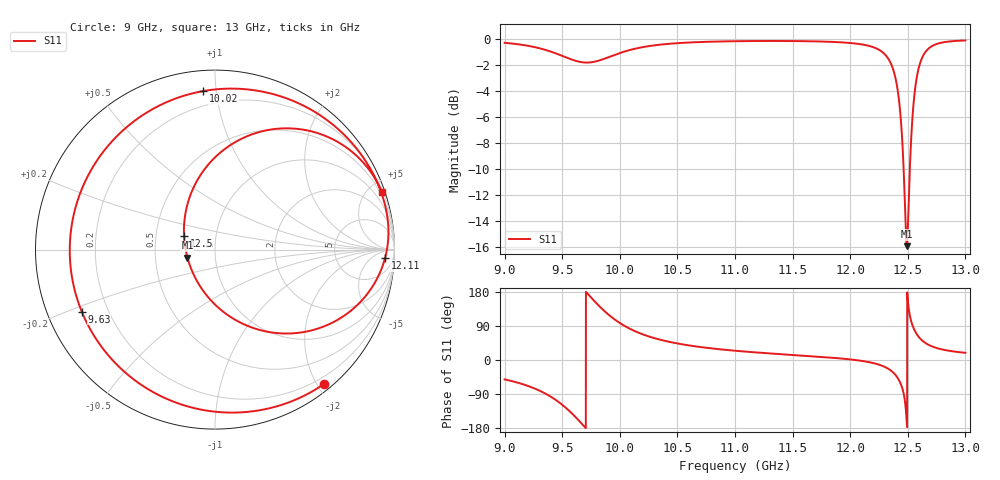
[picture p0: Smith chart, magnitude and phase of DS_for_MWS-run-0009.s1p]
! TOUCHSTONE file generated by CST DESIGN STUDIO
! Date and time: Tue Feb  4 16:13:21 2025
! Project name: C:\Work\MatlabApps\UnitCellOptimizationMatlab\CST\unitcell.cst
! Tree item: Tasks\Sweep1\SPara1\S-Parameters
! Header version: 2024
! Port assignment regex: !\s*Touchstone port\s*([0-9]+)\s*=\s*(CST MWS port|CST DES external port|CST DES block port)\s*(.+)\s* \(\"(.*)\"\)(\s*mode\s*([0-9]+))?.*
! Touchstone port assignment:
! Touchstone port 1 = CST DES external port 1 ("")
# GHz S MA R 50
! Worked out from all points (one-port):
!   4001 points, 9 GHz to 13 GHz, reference 50 ohm
!   lowest |S11| = -15.9 dB at 12.49 GHz (marker M1), VSWR 1.38, Z = 36.6 - j3.34 ohm
!   |S11| at or under -10 dB: 12.46387 GHz to 12.51773 GHz (53.86 MHz wide, 0.431 % of centre)
!   S11 on the Smith chart (normalised r, x): 9 GHz: 0.10, -2.09; 9.63 GHz: 0.10, -0.22; 10.02 GHz: 0.11, +0.92; 12.11 GHz: 21, -19; 12.5 GHz: 0.70, +0.11; 13 GHz: 0.30, +5.96
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9  0.9638 -51.1
9.257  0.9285 -74.8
9.393  0.8942 -95.4
9.5  0.8589 -118.1
9.63  0.8189 -155.1
9.704  0.8094 -179.5
9.777  0.8148 156.2
9.886  0.8436 123.8
10  0.8804 97.6
10.018  0.8858 94.2
10.234  0.9334 64.0
10.5  0.9607 43.6
11  0.9775 24.5
11.5  0.9789 13.3
12  0.9622 1.6
12.109  0.949 -2.8
12.257  0.9024 -13.0
12.346  0.815 -26.2
12.434  0.524 -59.6
12.462  0.3307 -85.5
12.491  0.1599 -163.8
12.5  0.1842 159.0
12.501  0.1896 155.5
12.547  0.5438 86.6
12.594  0.769 61.4
12.651  0.8864 45.3
12.726  0.9442 34.1
13  0.984 19.0
